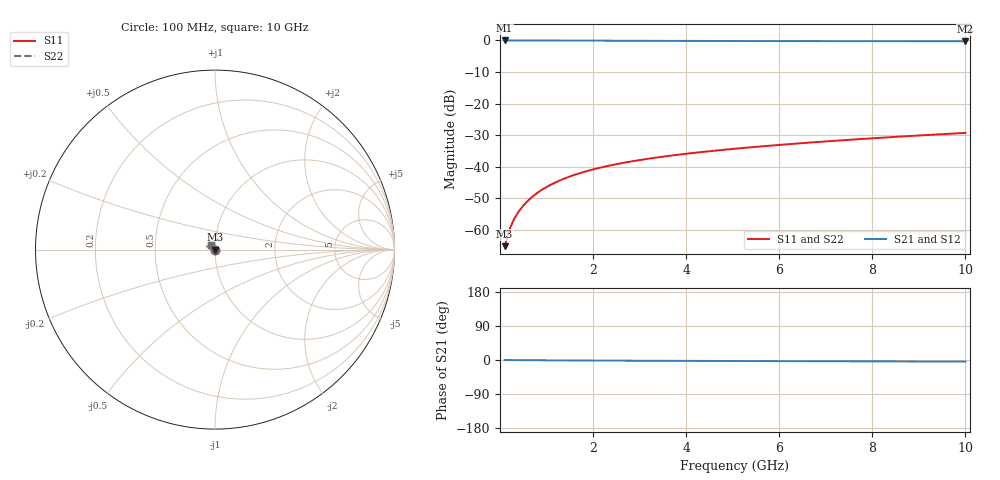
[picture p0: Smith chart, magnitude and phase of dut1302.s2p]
! Touchstone file exported from HFSS 2024.1.0
!  File:  C:/UserFiles/LocalFiles/RDL_TSV_Batchsim/temp_TSV1_1302_1780372510.aedt
!  Generated:  12:03:06 PM Jun  2, 2026
!  Design:  TSV1
!  Project:  temp_TSV1_1302_1780372510
!  Setup:  Setup1
!  Solution:  Sweep
! Variables:
!  dtsv = 6.54um
!  hbump = 3um
!  htsv = 56.92um
!  lrdl = 252.1521522um
!  p = 40
!  p1 = 59.9um
!  t = 500um
!  trdl = 3um
!  wrdl = 24.89489489um
# GHz S MA R 50.000000
! Terminal data exported
! Port[1] = TSV22_T1
! Port[2] = TSV22_T2
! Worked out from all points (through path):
!   100 points, 100 MHz to 10 GHz, reference 50 ohm
!   highest |S21| = 0.00 dB at 100 MHz (marker M1); lowest = -0.2 dB at 10 GHz (marker M2)
!   lowest |S11| = -65.2 dB at 100 MHz (marker M3), VSWR 1.00, Z = 50 - j0.0493 ohm
!   |S11| at or under -10 dB: start of sweep to end of sweep
!   |S22| runs from -65.2 to -29.3 dB; largest |S21 - S12| = 1e-15
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0.1  0.0005514 -63.3  0.9997 -0.1  0.9997 -0.1  0.0005514 -63.3
! Gamma 0 0 0 0
! Port Impedance 50 0 50 0
0.2  0.0009969 -79.9  0.9996 -0.2  0.9996 -0.2  0.0009969 -79.9
0.3  0.001465 -88.0  0.9995 -0.3  0.9995 -0.3  0.001465 -88.0
0.4  0.001939 -93.4  0.9993 -0.3  0.9993 -0.3  0.001939 -93.4
0.5  0.002416 -97.8  0.9991 -0.4  0.9991 -0.4  0.002416 -97.8
0.6  0.002892 -101.6  0.9988 -0.5  0.9988 -0.5  0.002892 -101.6
0.7  0.003366 -105.1  0.9985 -0.6  0.9985 -0.6  0.003366 -105.1
0.8  0.003837 -108.3  0.9982 -0.7  0.9982 -0.7  0.003837 -108.3
0.9  0.004303 -111.3  0.9978 -0.7  0.9978 -0.7  0.004303 -111.3
1.1  0.005222 -117.1  0.997 -0.9  0.997 -0.9  0.005222 -117.1
1.4  0.006557 -125.2  0.9955 -1.1  0.9955 -1.1  0.006557 -125.2
1.6  0.007414 -130.3  0.9945 -1.2  0.9945 -1.2  0.007414 -130.3
1.8  0.008246 -135.1  0.9934 -1.4  0.9934 -1.4  0.008246 -135.1
2.1  0.009445 -142.0  0.9918 -1.5  0.9918 -1.5  0.009445 -142.0
2.5  0.01096 -150.5  0.9896 -1.7  0.9896 -1.7  0.01096 -150.5
2.9  0.01239 -158.3  0.9876 -1.9  0.9876 -1.9  0.01239 -158.3
3.4  0.01409 -167.0  0.9852 -2.1  0.9852 -2.1  0.01409 -167.0
4.2  0.01666 -179.1  0.982 -2.4  0.982 -2.4  0.01666 -179.1
5.1  0.01943 169.7  0.9792 -2.7  0.9792 -2.7  0.01943 169.7
6.7  0.02424 154.5  0.9758 -3.2  0.9758 -3.2  0.02424 154.5
8.4  0.02938 142.8  0.9734 -3.7  0.9734 -3.7  0.02938 142.8
10  0.03431 134.6  0.9718 -4.2  0.9718 -4.2  0.03431 134.6
